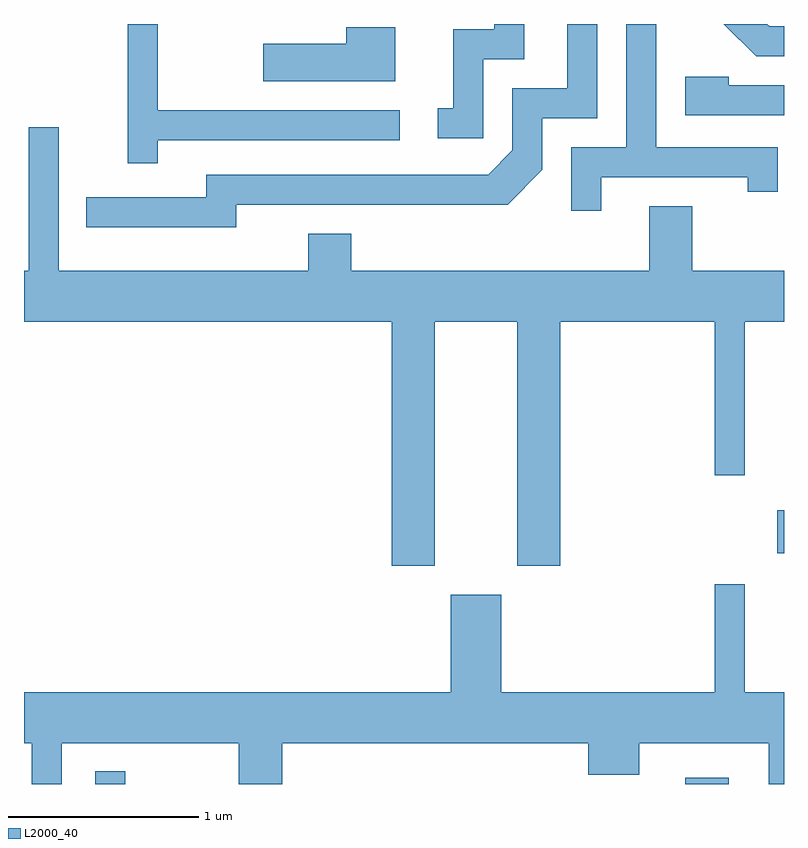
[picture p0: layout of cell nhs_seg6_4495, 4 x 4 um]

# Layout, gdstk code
import gdstk
lib = gdstk.Library(unit=1e-6, precision=1e-09)
def R(c, l, rs):  # rectangles x0, y0, x1, y1
    for r in rs: c.add(gdstk.rectangle(r[:2], r[2:], *l))
def P(c, l, *ps):  # polygons
    for p in ps: c.add(gdstk.Polygon(p, *l))
L2000_40 = (2000, 40)

nhs_seg6_4495 = lib.new_cell('nhs_seg6_4495')
R(nhs_seg6_4495, L2000_40, [(321.986,1654.162,322.144,1654.228), (325.091,1654.162,325.319,1654.194), (325.576,1655.376,325.611,1655.604)])
P(nhs_seg6_4495, L2000_40, [(322.314,1657.551),(323.588,1657.551),(323.588,1657.709),(322.314,1657.709),(322.314,1658.162),(322.156,1658.162),(322.156,1657.428),(322.314,1657.428)],
  [(324.029,1657.976),(324.244,1657.976),(324.244,1658.162),(324.086,1658.162),(324.086,1658.134),(323.871,1658.134),(323.871,1657.719),(323.788,1657.719),(323.788,1657.561),(324.029,1657.561)],
  [(322.729,1657.211),(324.157,1657.211),(324.339,1657.394),(324.339,1657.666),(324.629,1657.666),(324.629,1658.162),(324.471,1658.162),(324.471,1657.824),(324.181,1657.824),(324.181,1657.497),(324.054,1657.369),(322.571,1657.369),(322.571,1657.249),(321.938,1657.249),(321.938,1657.091),(322.729,1657.091)],
  [(324.649,1657.356),(325.421,1657.356),(325.421,1657.278),(325.579,1657.278),(325.579,1657.514),(324.939,1657.514),(324.939,1658.162),(324.781,1658.162),(324.781,1657.514),(324.491,1657.514),(324.491,1657.178),(324.649,1657.178)],
  [(325.611,1658.149),(325.537,1658.149),(325.524,1658.162),(325.293,1658.162),(325.464,1657.991),(325.611,1657.991)],
  [(323.564,1658.144),(323.306,1658.144),(323.306,1658.059),(322.871,1658.059),(322.871,1657.861),(323.564,1657.861)],
  [(325.611,1657.839),(325.319,1657.839),(325.319,1657.884),(325.091,1657.884),(325.091,1657.681),(325.611,1657.681)],
  [(323.774,1656.596),(324.206,1656.596),(324.206,1655.311),(324.434,1655.311),(324.434,1656.596),(325.246,1656.596),(325.246,1655.788),(325.404,1655.788),(325.404,1656.596),(325.611,1656.596),(325.611,1656.864),(325.129,1656.864),(325.129,1657.204),(324.901,1657.204),(324.901,1656.864),(323.334,1656.864),(323.334,1657.059),(323.106,1657.059),(323.106,1656.864),(321.794,1656.864),(321.794,1657.618),(321.636,1657.618),(321.636,1656.864),(321.611,1656.864),(321.611,1656.596),(323.546,1656.596),(323.546,1655.311),(323.774,1655.311)],
  [(321.809,1654.376),(322.741,1654.376),(322.741,1654.162),(322.969,1654.162),(322.969,1654.376),(324.581,1654.376),(324.581,1654.211),(324.849,1654.211),(324.849,1654.376),(325.531,1654.376),(325.531,1654.162),(325.611,1654.162),(325.611,1654.644),(325.404,1654.644),(325.404,1655.213),(325.246,1655.213),(325.246,1654.644),(324.124,1654.644),(324.124,1655.159),(323.856,1655.159),(323.856,1654.644),(321.611,1654.644),(321.611,1654.376),(321.651,1654.376),(321.651,1654.162),(321.809,1654.162)])

lib.write_gds('nhs_seg6_4495.gds')
